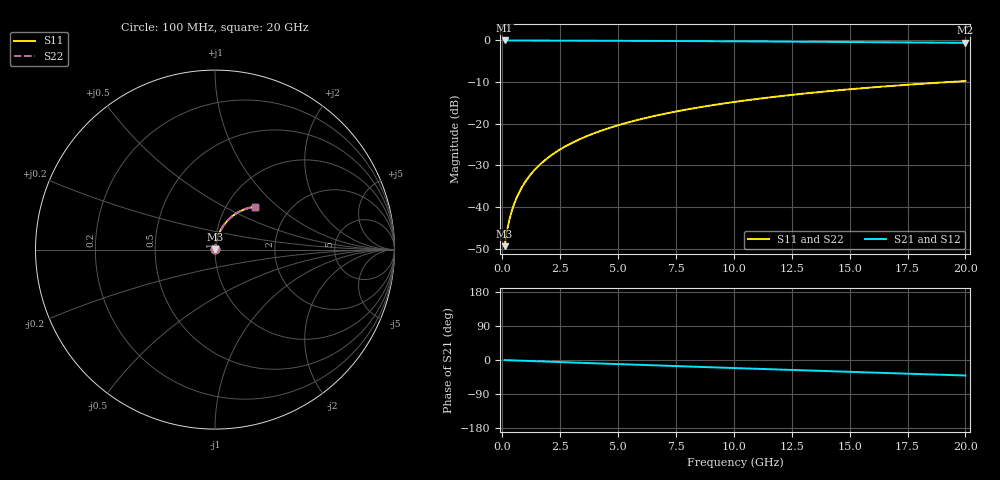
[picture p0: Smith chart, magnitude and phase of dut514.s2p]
! Touchstone file exported from HFSS 2026.1.0
!  File:  C:/ffzhzh/LocalFiles/Ansys_Project_Files/temp_train_BSMRDL_514_1783014444_55676.aedt
!  Generated:  01:48:47 AM Jul  3, 2026
!  Design:  BSMRDL
!  Project:  temp_train_BSMRDL_514_1783014444_55676
! Variables:
!  h_bsmrdl = 4.58um
!  h_ox = 20um
!  h_rdl = 5um
!  h_sub = 80um
!  h_tmrdl = 5um
!  h_tsv = 80um
!  h_via = 3um
!  l_bsmrdl = 633.86um
!  l_sub = 1033.86um
!  l_tmrdl = 200um
!  m_sub = 200um
!  pitch = 40.62um
!  r_tsv = 6um
!  s_tmrdl = 10um
!  w_bsmrdl = 20.42um
!  w_sub = 500um
!  w_tmrdl = 12um
!  x_tsv_center1 = 206um
!  x_tsv_center2 = 860.28um
!  x_tsv_center3 = 1072.28um
!  x_tsv_center4 = 1726.56um
!  x_tsv_center5 = 1938.56um
!  x_tsv_center6 = 2592.84um
# GHz S MA R 50.000000
! Terminal data exported
! Port[1] = BSM_RDL1_1_T1
! Port[2] = BSM_RDL1_1_T2
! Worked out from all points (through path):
!   200 points, 100 MHz to 20 GHz, reference 50 ohm
!   highest |S21| = -0.02 dB at 100 MHz (marker M1); lowest = -0.6 dB at 20 GHz (marker M2)
!   group delay of S21, straight-line fit = 5.67 ps
!   lowest |S11| = -49.4 dB at 100 MHz (marker M3), VSWR 1.01, Z = 50.3 + j0.22 ohm
!   |S11| at or under -10 dB: start of sweep to 19.31 GHz
!   |S22| runs from -49.4 to -9.8 dB; largest |S21 - S12| = 3.6e-15
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0.1  0.003381 40.3  0.9974 -0.2  0.9974 -0.2  0.003381 40.3
! Gamma 0 0 0 0
! Port Impedance 50 0 50 0
0.2  0.005076 57.0  0.9973 -0.5  0.9973 -0.5  0.005076 57.0
0.3  0.006892 64.7  0.9971 -0.7  0.9971 -0.7  0.006892 64.7
0.4  0.008738 69.2  0.997 -0.9  0.997 -0.9  0.008738 69.2
0.5  0.01061 72.1  0.9969 -1.1  0.9969 -1.1  0.01061 72.1
0.6  0.01249 74.2  0.9968 -1.3  0.9968 -1.3  0.01249 74.2
0.8  0.01631 76.9  0.9967 -1.8  0.9967 -1.8  0.01631 76.9
1.1  0.02209 78.9  0.9964 -2.4  0.9964 -2.4  0.02209 78.9
1.5  0.02983 79.9  0.996 -3.3  0.996 -3.3  0.02983 79.9
1.8  0.03563 80.1  0.9957 -4.0  0.9957 -4.0  0.03563 80.1
2.1  0.04141 80.0  0.9952 -4.6  0.9952 -4.6  0.04141 80.0
2.7  0.05289 79.4  0.9943 -5.9  0.9943 -5.9  0.05289 79.4
3.5  0.06799 78.2  0.9928 -7.6  0.9928 -7.6  0.06799 78.2
4.2  0.081 77.0  0.9913 -9.1  0.9913 -9.1  0.081 77.0
5  0.09563 75.5  0.9894 -10.8  0.9894 -10.8  0.09563 75.5
5.9  0.1118 73.8  0.987 -12.7  0.987 -12.7  0.1118 73.8
6.8  0.1277 72.1  0.9845 -14.6  0.9845 -14.6  0.1277 72.1
8.3  0.1535 69.2  0.98 -17.7  0.98 -17.7  0.1536 69.2
10.1  0.1835 65.8  0.974 -21.4  0.974 -21.4  0.1835 65.7
13.4  0.2352 59.5  0.9617 -28.1  0.9617 -28.1  0.2352 59.4
16.7  0.2824 53.2  0.9483 -34.6  0.9483 -34.6  0.2824 53.2
20  0.3247 47.2  0.9342 -40.9  0.9342 -40.9  0.3247 47.1
